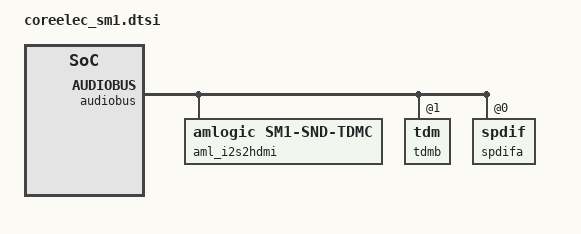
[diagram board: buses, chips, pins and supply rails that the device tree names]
#include "sm1_s905x3_ac213.dts"
#include "coreelec_common.dtsi"

/{
	gpioleds {
		/delete-node/ net_red;
		/delete-node/ net_green;
		/delete-node/ remote_led;
	};

	auge_sound {
		aml-audio-card,dai-link@0 {
			cpu {
				sound-dai = <&spdifb>;
			};
		};

		aml-audio-card,dai-link@1 {
			bitclock-master = <&tdmb>;
			frame-master = <&tdmb>;
			cpu {
				sound-dai = <&tdmb>;
			};
		};

		aml-audio-card,dai-link@2 {
			cpu {
				sound-dai = <&spdifa>;
			};
		};
	};
};

&audiobus {
	aml_i2s2hdmi: i2s2hdmi {
		compatible = "amlogic, sm1-snd-tdmc";
	};

	tdmb: tdm@1 {
		/delete-property/ pinctrl-names;
		/delete-property/ pinctrl-0;
		/delete-property/ samesource_sel;
		/delete-property/ start_clk_enable;
	};

	spdifa: spdif@0 {
		pinctrl-0 = <&spdifout>;
	};
};

&i2c3 {
	status = "disabled";
};

&dwc2_a {
	controller-type = <3>;
};

&ethmac {
	cali_val = <0x10000>;
	rx_delay = <0>;
	auto_cali_idx = <0>;
};

&earc {
	status = "disabled";
};
